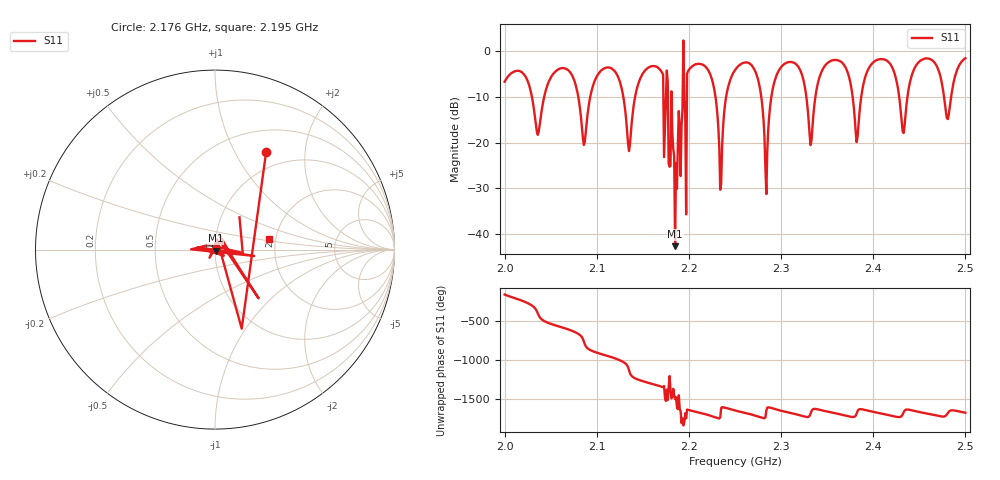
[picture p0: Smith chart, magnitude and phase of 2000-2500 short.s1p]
! NanoVNA-App by SYSJOINT et al v1.1.209 (+OD18)
! Date: 2025-09-17 10:32:18
! Start: 2GHz Stop: 2.5GHz Points: 501
! S-Parameter data: F S11
# Hz S RI R 50
!  Frequency  S11_Real  S11_Imag
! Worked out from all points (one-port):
!   501 points, 2 GHz to 2.5 GHz, reference 50 ohm
!   lowest |S11| = -42.6 dB at 2.185 GHz (marker M1), VSWR 1.01, Z = 50.4 - j0.634 ohm
!   |S11| at or under -10 dB: 2.03 GHz to 2.043 GHz (13.26 MHz wide, 0.651 % of centre); 2.08 GHz to 2.093 GHz (12.89 MHz wide, 0.618 % of centre); 2.129 GHz to 2.142 GHz (12.76 MHz wide, 0.598 % of centre) (the widest 3 of 13)
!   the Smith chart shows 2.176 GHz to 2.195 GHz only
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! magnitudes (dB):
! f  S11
! 2 GHz  -6.7
! 2.036 GHz  -18.3
! 2.063 GHz  -3.7
! 2.086 GHz  -20.5
! 2.101 GHz  -5.2
! 2.125 GHz  -6.6
! 2.135 GHz  -21.8
! 2.148 GHz  -5.6
! 2.17 GHz  -4.4
! 2.185 GHz  -42.6
! 2.188 GHz  -20.3
! 2.213 GHz  -2.8
! 2.235 GHz  -29.0
! 2.25 GHz  -4.1
! 2.273 GHz  -4.9
! 2.284 GHz  -31.2
! 2.293 GHz  -6.5
! 2.313 GHz  -2.4
! 2.332 GHz  -20.5
! 2.348 GHz  -3.1
! 2.375 GHz  -6.7
! 2.382 GHz  -19.9
! 2.401 GHz  -2.3
! 2.432 GHz  -17.6
! 2.438 GHz  -8.7
! 2.463 GHz  -1.8
! 2.481 GHz  -14.8
! 2.5 GHz  -1.5
